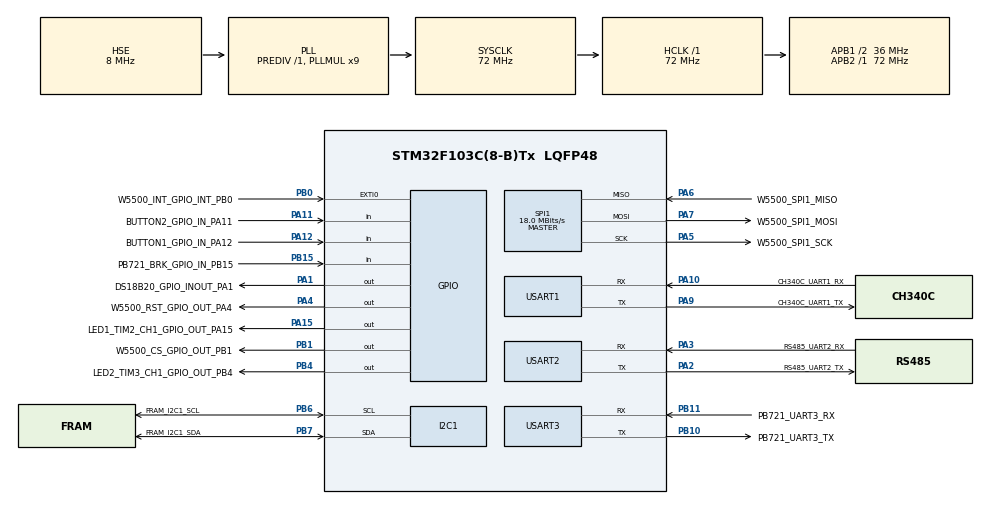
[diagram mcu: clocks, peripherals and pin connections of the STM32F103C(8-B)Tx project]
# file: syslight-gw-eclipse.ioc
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FREERTOS.INCLUDE_vTaskDelayUntil=1
FREERTOS.Tasks01=defaultTask,0,128,StartDefaultTask,Default,NULL
FREERTOS.configCHECK_FOR_STACK_OVERFLOW=2
FREERTOS.configTOTAL_HEAP_SIZE=10240
FREERTOS.configUSE_MALLOC_FAILED_HOOK=1
Mcu.Family=STM32F1
Mcu.Name=STM32F103C(8-B)Tx
Mcu.Package=LQFP48
NVIC.EXTI0_IRQn=true\:5\:0\:false\:true\:true\:1\:true\:true
NVIC.PriorityGroup=NVIC_PRIORITYGROUP_4
NVIC.TIM1_UP_IRQn=true\:0\:0\:false\:false\:true\:false\:false
NVIC.TimeBase=TIM1_UP_IRQn
NVIC.TimeBaseIP=TIM1
PA1.GPIO_Label=DS18B20_GPIO_INOUT_PA1
PA1.GPIO_ModeDefaultOutputPP=GPIO_MODE_OUTPUT_OD
PA1.PinState=GPIO_PIN_SET
PA1.Signal=GPIO_Output
PA10.GPIO_Label=CH340C_UART1_RX
PA10.Mode=Asynchronous
PA10.Signal=USART1_RX
PA11.GPIO_Label=BUTTON2_GPIO_IN_PA11
PA11.Signal=GPIO_Input
PA12.GPIO_Label=BUTTON1_GPIO_IN_PA12
PA12.Signal=GPIO_Input
PA13.Mode=Trace_Asynchronous_SW
PA13.Signal=SYS_JTMS-SWDIO
PA14.Mode=Trace_Asynchronous_SW
PA14.Signal=SYS_JTCK-SWCLK
PA15.GPIO_Label=LED1_TIM2_CH1_GPIO_OUT_PA15
PA15.Signal=GPIO_Output
PA2.GPIO_Label=RS485_UART2_TX
PA2.Mode=Asynchronous
PA2.Signal=USART2_TX
PA3.GPIO_Label=RS485_UART2_RX
PA3.Mode=Asynchronous
PA3.Signal=USART2_RX
PA4.GPIO_Label=W5500_RST_GPIO_OUT_PA4
PA4.PinState=GPIO_PIN_SET
PA4.Signal=GPIO_Output
PA5.GPIO_Label=W5500_SPI1_SCK
PA5.Mode=Full_Duplex_Master
PA5.Signal=SPI1_SCK
PA6.GPIO_Label=W5500_SPI1_MISO
PA6.Mode=Full_Duplex_Master
PA6.Signal=SPI1_MISO
PA7.GPIO_Label=W5500_SPI1_MOSI
PA7.Mode=Full_Duplex_Master
PA7.Signal=SPI1_MOSI
PA9.GPIO_Label=CH340C_UART1_TX
PA9.Mode=Asynchronous
PA9.Signal=USART1_TX
PB0.GPIO_Label=W5500_INT_GPIO_INT_PB0
PB0.Signal=GPXTI0
PB1.GPIO_Label=W5500_CS_GPIO_OUT_PB1
PB1.PinState=GPIO_PIN_SET
PB1.Signal=GPIO_Output
PB10.GPIO_Label=PB721_UART3_TX
PB10.Mode=Asynchronous
PB10.Signal=USART3_TX
PB11.GPIO_Label=PB721_UART3_RX
PB11.Mode=Asynchronous
PB11.Signal=USART3_RX
PB15.GPIO_Label=PB721_BRK_GPIO_IN_PB15
PB15.Signal=GPIO_Input
PB3.Mode=Trace_Asynchronous_SW
PB3.Signal=SYS_JTDO-TRACESWO
PB4.GPIO_Label=LED2_TIM3_CH1_GPIO_OUT_PB4
PB4.Signal=GPIO_Output
PB6.GPIO_Label=FRAM_I2C1_SCL
PB6.Mode=I2C
PB6.Signal=I2C1_SCL
PB7.GPIO_Label=FRAM_I2C1_SDA
PB7.Mode=I2C
PB7.Signal=I2C1_SDA
PC14-OSC32_IN.Mode=LSE-External-Oscillator
PC14-OSC32_IN.Signal=RCC_OSC32_IN
PC15-OSC32_OUT.Mode=LSE-External-Oscillator
PC15-OSC32_OUT.Signal=RCC_OSC32_OUT
PD0-OSC_IN.Mode=HSE-External-Oscillator
PD0-OSC_IN.Signal=RCC_OSC_IN
PD1-OSC_OUT.Mode=HSE-External-Oscillator
PD1-OSC_OUT.Signal=RCC_OSC_OUT
ProjectManager.HeapSize=0x200
ProjectManager.StackSize=0x400
ProjectManager.TargetToolchain=Makefile
RCC.AHBFreq_Value=72000000
RCC.APB1CLKDivider=RCC_HCLK_DIV2
RCC.APB1Freq_Value=36000000
RCC.APB1TimFreq_Value=72000000
RCC.APB2Freq_Value=72000000
RCC.APB2TimFreq_Value=72000000
RCC.HCLKFreq_Value=72000000
RCC.PLLMUL=RCC_PLL_MUL9
RCC.PLLSourceVirtual=RCC_PLLSOURCE_HSE
RCC.RTCClockSelection=RCC_RTCCLKSOURCE_LSE
RCC.SYSCLKFreq_VALUE=72000000
RCC.SYSCLKSource=RCC_SYSCLKSOURCE_PLLCLK
RCC.USBFreq_Value=72000000
RTC.Format=RTC_FORMAT_BIN
SPI1.BaudRatePrescaler=SPI_BAUDRATEPRESCALER_4
SPI1.CRCCalculation=SPI_CRCCALCULATION_DISABLE
SPI1.CalculateBaudRate=18.0 MBits/s
SPI1.Direction=SPI_DIRECTION_2LINES
SPI1.Mode=SPI_MODE_MASTER
SPI1.VirtualType=VM_MASTER
USART1.HwFlowCtl-Asynchronous=UART_HWCONTROL_NONE
USART1.VirtualMode=VM_ASYNC
USART2.HwFlowCtl-Asynchronous=UART_HWCONTROL_NONE
USART2.VirtualMode=VM_ASYNC
USART3.HwFlowCtl-Asynchronous=UART_HWCONTROL_NONE
USART3.VirtualMode=VM_ASYNC
VP_FREERTOS_VS_ENABLE.Mode=Enabled
VP_RTC_No_RTC_Output.Mode=RTC_OUT_NO
VP_RTC_VS_RTC_Activate.Mode=RTC_Enabled
VP_SYS_VS_tim1.Mode=TIM1
VP_TIM2_VS_ClockSourceINT.Mode=Internal
board=custom

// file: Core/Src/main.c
/* USER CODE BEGIN Header */
/**
  ******************************************************************************
  * @file           : main.c
  * @brief          : Main program body
  ******************************************************************************
  * This notice applies to any and all portions of this file
  * that are not between comment pairs USER CODE BEGIN and
  * USER CODE END. Other portions of this file, whether
  * inserted by the user or by software development tools
  * are owned by their respective copyright owners.
  *
  * Copyright (c) 2018 STMicroelectronics International N.V.
  * All rights reserved.
  *
  * Redistribution and use in source and binary forms, with or without
  * modification, are permitted, provided that the following conditions are met:
  *
  * 1. Redistribution of source code must retain the above copyright notice,
  *    this list of conditions and the following disclaimer.
  * 2. Redistributions in binary form must reproduce the above copyright notice,
  *    this list of conditions and the following disclaimer in the documentation
  *    and/or other materials provided with the distribution.
  * 3. Neither the name of STMicroelectronics nor the names of other
  *    contributors to this software may be used to endorse or promote products
  *    derived from this software without specific written permission.
  * 4. This software, including modifications and/or derivative works of this
  *    software, must execute solely and exclusively on microcontroller or
  *    microprocessor devices manufactured by or for STMicroelectronics.
  * 5. Redistribution and use of this software other than as permitted under
  *    this license is void and will automatically terminate your rights under
  *    this license.
  *
  * THIS SOFTWARE IS PROVIDED BY STMICROELECTRONICS AND CONTRIBUTORS "AS IS"
  * AND ANY EXPRESS, IMPLIED OR STATUTORY WARRANTIES, INCLUDING, BUT NOT
  * LIMITED TO, THE IMPLIED WARRANTIES OF MERCHANTABILITY, FITNESS FOR A
  * PARTICULAR PURPOSE AND NON-INFRINGEMENT OF THIRD PARTY INTELLECTUAL PROPERTY
  * RIGHTS ARE DISCLAIMED TO THE FULLEST EXTENT PERMITTED BY LAW. IN NO EVENT
  * SHALL STMICROELECTRONICS OR CONTRIBUTORS BE LIABLE FOR ANY DIRECT, INDIRECT,
  * INCIDENTAL, SPECIAL, EXEMPLARY, OR CONSEQUENTIAL DAMAGES (INCLUDING, BUT NOT
  * LIMITED TO, PROCUREMENT OF SUBSTITUTE GOODS OR SERVICES; LOSS OF USE, DATA,
  * OR PROFITS; OR BUSINESS INTERRUPTION) HOWEVER CAUSED AND ON ANY THEORY OF
  * LIABILITY, WHETHER IN CONTRACT, STRICT LIABILITY, OR TORT (INCLUDING
  * NEGLIGENCE OR OTHERWISE) ARISING IN ANY WAY OUT OF THE USE OF THIS SOFTWARE,
  * EVEN IF ADVISED OF THE POSSIBILITY OF SUCH DAMAGE.
  *
  ******************************************************************************
  */
/* USER CODE END Header */

#include "main.h"
#include "cmsis_os.h"
#include "dma.h"
#include "i2c.h"
#include "rtc.h"
#include "spi.h"
#include "tim.h"
#include "usart.h"
#include "gpio.h"

/* USER CODE BEGIN PV */
/* Private variables ---------------------------------------------------------*/

/* USER CODE END PV */

void SystemClock_Config(void);
void MX_FREERTOS_Init(void);
/* USER CODE BEGIN PFP */
/* Private function prototypes -----------------------------------------------*/

/* USER CODE END PFP */

int main(void)
{

  /* MCU Configuration--------------------------------------------------------*/

  /* Reset of all peripherals, Initializes the Flash interface and the Systick. */
  HAL_Init();

  /* Configure the system clock */
  SystemClock_Config();

  /* Initialize all configured peripherals */
  MX_GPIO_Init();
  MX_DMA_Init();
  MX_I2C1_Init();
  MX_RTC_Init();
  MX_SPI1_Init();
  MX_USART1_UART_Init();
  MX_USART2_UART_Init();
  MX_USART3_UART_Init();
  MX_TIM2_Init();

  /* Call init function for freertos objects (in freertos.c) */
  MX_FREERTOS_Init();

  /* Start scheduler */
  osKernelStart();

  /* We should never get here as control is now taken by the scheduler */

  /* Infinite loop */
  while (1)
  {

  }
}

void SystemClock_Config(void)
{
  RCC_OscInitTypeDef RCC_OscInitStruct = {0};
  RCC_ClkInitTypeDef RCC_ClkInitStruct = {0};
  RCC_PeriphCLKInitTypeDef PeriphClkInit = {0};

  /**Initializes the CPU, AHB and APB busses clocks
  */
  RCC_OscInitStruct.OscillatorType = RCC_OSCILLATORTYPE_HSE|RCC_OSCILLATORTYPE_LSE;
  RCC_OscInitStruct.HSEState = RCC_HSE_ON;
  RCC_OscInitStruct.HSEPredivValue = RCC_HSE_PREDIV_DIV1;
  RCC_OscInitStruct.LSEState = RCC_LSE_ON;
  RCC_OscInitStruct.HSIState = RCC_HSI_ON;
  RCC_OscInitStruct.PLL.PLLState = RCC_PLL_ON;
  RCC_OscInitStruct.PLL.PLLSource = RCC_PLLSOURCE_HSE;
  RCC_OscInitStruct.PLL.PLLMUL = RCC_PLL_MUL9;
  if (HAL_RCC_OscConfig(&RCC_OscInitStruct) != HAL_OK)
  {
    Error_Handler();
  }
  /**Initializes the CPU, AHB and APB busses clocks
  */
  RCC_ClkInitStruct.ClockType = RCC_CLOCKTYPE_HCLK|RCC_CLOCKTYPE_SYSCLK
                              |RCC_CLOCKTYPE_PCLK1|RCC_CLOCKTYPE_PCLK2;
  RCC_ClkInitStruct.SYSCLKSource = RCC_SYSCLKSOURCE_PLLCLK;
  RCC_ClkInitStruct.AHBCLKDivider = RCC_SYSCLK_DIV1;
  RCC_ClkInitStruct.APB1CLKDivider = RCC_HCLK_DIV2;
  RCC_ClkInitStruct.APB2CLKDivider = RCC_HCLK_DIV1;

  if (HAL_RCC_ClockConfig(&RCC_ClkInitStruct, FLASH_LATENCY_2) != HAL_OK)
  {
    Error_Handler();
  }
  PeriphClkInit.PeriphClockSelection = RCC_PERIPHCLK_RTC;
  PeriphClkInit.RTCClockSelection = RCC_RTCCLKSOURCE_LSE;
  if (HAL_RCCEx_PeriphCLKConfig(&PeriphClkInit) != HAL_OK)
  {
    Error_Handler();
  }
  /**Enables the Clock Security System
  */
  HAL_RCC_EnableCSS();
}

void HAL_TIM_PeriodElapsedCallback(TIM_HandleTypeDef *htim)
{
  if (htim->Instance == TIM1) {
    HAL_IncTick();
  }
}

void Error_Handler(void)
{
  while(1)
  {
  }
}

/************************ (C) COPYRIGHT STMicroelectronics *****END OF FILE****/

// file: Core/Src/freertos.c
/* USER CODE BEGIN Header */
/**
  ******************************************************************************
  * File Name          : freertos.c
  * Description        : Code for freertos applications
  ******************************************************************************
  * This notice applies to any and all portions of this file
  * that are not between comment pairs USER CODE BEGIN and
  * USER CODE END. Other portions of this file, whether
  * inserted by the user or by software development tools
  * are owned by their respective copyright owners.
  *
  * Copyright (c) 2018 STMicroelectronics International N.V.
  * All rights reserved.
  *
  * Redistribution and use in source and binary forms, with or without
  * modification, are permitted, provided that the following conditions are met:
  *
  * 1. Redistribution of source code must retain the above copyright notice,
  *    this list of conditions and the following disclaimer.
  * 2. Redistributions in binary form must reproduce the above copyright notice,
  *    this list of conditions and the following disclaimer in the documentation
  *    and/or other materials provided with the distribution.
  * 3. Neither the name of STMicroelectronics nor the names of other
  *    contributors to this software may be used to endorse or promote products
  *    derived from this software without specific written permission.
  * 4. This software, including modifications and/or derivative works of this
  *    software, must execute solely and exclusively on microcontroller or
  *    microprocessor devices manufactured by or for STMicroelectronics.
  * 5. Redistribution and use of this software other than as permitted under
  *    this license is void and will automatically terminate your rights under
  *    this license.
  *
  * THIS SOFTWARE IS PROVIDED BY STMICROELECTRONICS AND CONTRIBUTORS "AS IS"
  * AND ANY EXPRESS, IMPLIED OR STATUTORY WARRANTIES, INCLUDING, BUT NOT
  * LIMITED TO, THE IMPLIED WARRANTIES OF MERCHANTABILITY, FITNESS FOR A
  * PARTICULAR PURPOSE AND NON-INFRINGEMENT OF THIRD PARTY INTELLECTUAL PROPERTY
  * RIGHTS ARE DISCLAIMED TO THE FULLEST EXTENT PERMITTED BY LAW. IN NO EVENT
  * SHALL STMICROELECTRONICS OR CONTRIBUTORS BE LIABLE FOR ANY DIRECT, INDIRECT,
  * INCIDENTAL, SPECIAL, EXEMPLARY, OR CONSEQUENTIAL DAMAGES (INCLUDING, BUT NOT
  * LIMITED TO, PROCUREMENT OF SUBSTITUTE GOODS OR SERVICES; LOSS OF USE, DATA,
  * OR PROFITS; OR BUSINESS INTERRUPTION) HOWEVER CAUSED AND ON ANY THEORY OF
  * LIABILITY, WHETHER IN CONTRACT, STRICT LIABILITY, OR TORT (INCLUDING
  * NEGLIGENCE OR OTHERWISE) ARISING IN ANY WAY OUT OF THE USE OF THIS SOFTWARE,
  * EVEN IF ADVISED OF THE POSSIBILITY OF SUCH DAMAGE.
  *
  ******************************************************************************
  */
/* USER CODE END Header */

#include "FreeRTOS.h"
#include "task.h"
#include "main.h"
#include "cmsis_os.h"

/* USER CODE BEGIN Includes */
#include <nvs/nvs.h>
#include <flash.h>
/* USER CODE END Includes */

/* USER CODE BEGIN PTD */
#define NVS_SECTOR_SIZE FLASH_PAGE_SIZE /* Multiple of FLASH_PAGE_SIZE */
#define NVS_SECTOR_COUNT 4 /* At least 2 sectors */
#define NVS_STORAGE_OFFSET (60*FLASH_PAGE_SIZE)/* Start address of the
                  * filesystem in flash
                  */

#define ADDRESS_ID 1

static struct nvs_fs fs = {
  .sector_size = NVS_SECTOR_SIZE,
  .sector_count = NVS_SECTOR_COUNT,
  .offset = NVS_STORAGE_OFFSET,
};
/* USER CODE END PTD */

/* USER CODE BEGIN Variables */
extern struct device flash_dev;
/* USER CODE END Variables */
osThreadId defaultTaskHandle;

void StartDefaultTask(void const * argument);

void MX_FREERTOS_Init(void); /* (MISRA C 2004 rule 8.1) */

/* Hook prototypes */
void vApplicationStackOverflowHook(xTaskHandle xTask, signed char *pcTaskName);
void vApplicationMallocFailedHook(void);

/* USER CODE BEGIN 4 */
__weak void vApplicationStackOverflowHook(xTaskHandle xTask, signed char *pcTaskName)
{
   /* Run time stack overflow checking is performed if
   configCHECK_FOR_STACK_OVERFLOW is defined to 1 or 2. This hook function is
   called if a stack overflow is detected. */
}
/* USER CODE END 4 */

/* USER CODE BEGIN 5 */
__weak void vApplicationMallocFailedHook(void)
{
   /* vApplicationMallocFailedHook() will only be called if
   configUSE_MALLOC_FAILED_HOOK is set to 1 in FreeRTOSConfig.h. It is a hook
   function that will get called if a call to pvPortMalloc() fails.
   pvPortMalloc() is called internally by the kernel whenever a task, queue,
   timer or semaphore is created. It is also called by various parts of the
   demo application. If heap_1.c or heap_2.c are used, then the size of the
   heap available to pvPortMalloc() is defined by configTOTAL_HEAP_SIZE in
   FreeRTOSConfig.h, and the xPortGetFreeHeapSize() API function can be used
   to query the size of free heap space that remains (although it does not
   provide information on how the remaining heap might be fragmented). */
}
/* USER CODE END 5 */

void MX_FREERTOS_Init(void) {

  /* Create the thread(s) */
  /* definition and creation of defaultTask */
  osThreadDef(defaultTask, StartDefaultTask, osPriorityNormal, 0, 256);
  defaultTaskHandle = osThreadCreate(osThread(defaultTask), NULL);

}

void StartDefaultTask(void const * argument)
{

  /* USER CODE BEGIN StartDefaultTask */
  int rc = 0 ,tmp = 0;
  int address = 0;
  rc = devive_init(&flash_dev);
  assert_param(rc == 0);

  rc = nvs_init(&fs, NULL);
  assert_param(rc == 0);

  rc = nvs_read(&fs, ADDRESS_ID, &address, sizeof(address));
  assert_param(rc < 0);
  if(rc > 0 )
  {
//    while(1);
    address = 22;
    rc = nvs_write(&fs, ADDRESS_ID, &address, sizeof(address));
  }
  else
  {
    address = 33;
    rc = nvs_write(&fs, ADDRESS_ID, &address, sizeof(address));
    tmp = rc;
  }
  /* Infinite loop */
  for(;;)
  {
    osDelay(1);
  }
  /* USER CODE END StartDefaultTask */
}

/************************ (C) COPYRIGHT STMicroelectronics *****END OF FILE****/
